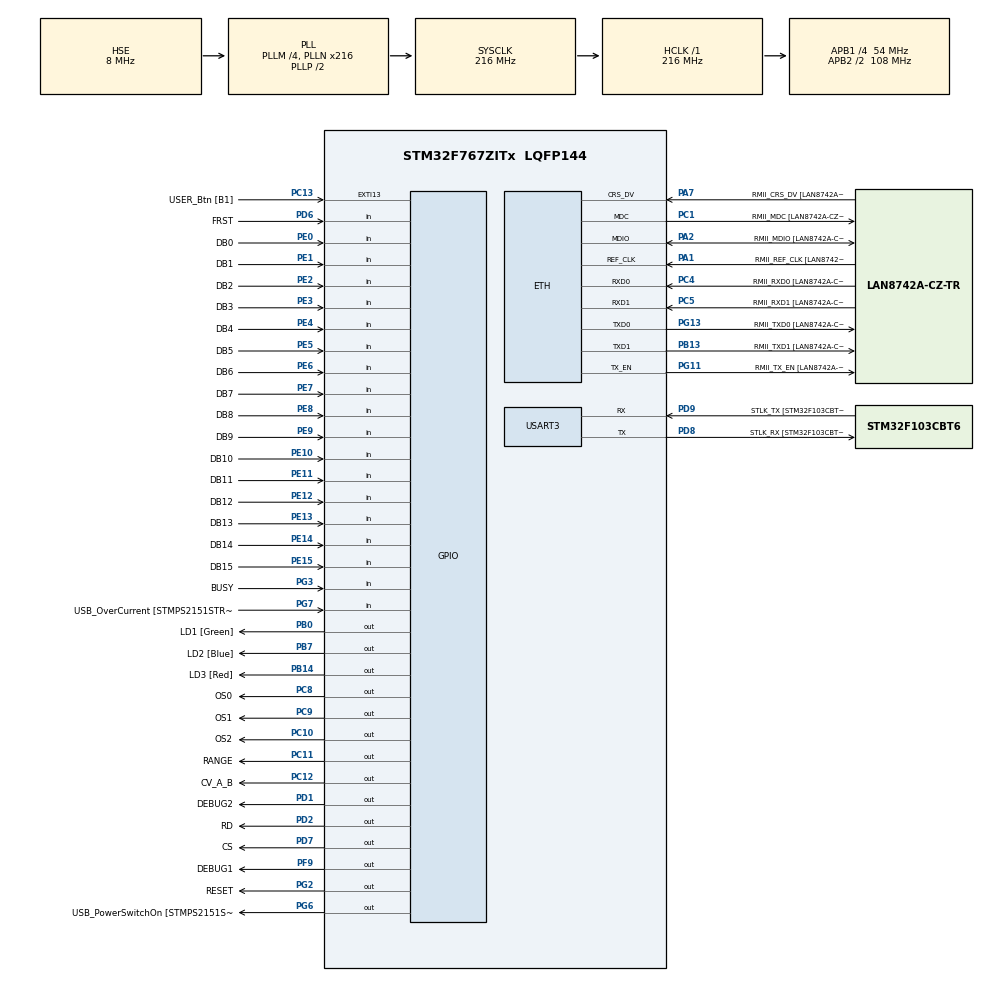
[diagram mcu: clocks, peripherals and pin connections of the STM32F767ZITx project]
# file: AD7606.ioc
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ETH.MediaInterface=ETH_MEDIA_INTERFACE_RMII
ETH.PHY_Name=LAN8742A_PHY_ADDRESS
ETH.PHY_Value=0
ETH.PhyAddress=0
Mcu.Family=STM32F7
Mcu.Name=STM32F767ZITx
Mcu.Package=LQFP144
NVIC.PriorityGroup=NVIC_PRIORITYGROUP_4
NVIC.TIM6_DAC_IRQn=true\:0\:0\:false\:false\:true\:true\:true
NVIC.TIM7_IRQn=true\:0\:0\:false\:false\:true\:true\:true
PA1.GPIO_Label=RMII_REF_CLK [LAN8742A-CZ-TR_REFCLK0]
PA1.Mode=RMII
PA1.Signal=ETH_REF_CLK
PA10.GPIO_Label=USB_ID
PA10.Signal=USB_OTG_FS_ID
PA11.GPIO_Label=USB_DM
PA11.Signal=USB_OTG_FS_DM
PA12.GPIO_Label=USB_DP
PA12.Signal=USB_OTG_FS_DP
PA13.GPIO_Label=TMS
PA13.Mode=Serial_Wire
PA13.Signal=SYS_JTMS-SWDIO
PA14.GPIO_Label=TCK
PA14.Mode=Serial_Wire
PA14.Signal=SYS_JTCK-SWCLK
PA2.GPIO_Label=RMII_MDIO [LAN8742A-CZ-TR_MDIO]
PA2.Mode=RMII
PA2.Signal=ETH_MDIO
PA7.GPIO_Label=RMII_CRS_DV [LAN8742A-CZ-TR_CRS_DV]
PA7.Mode=RMII
PA7.Signal=ETH_CRS_DV
PA8.GPIO_Label=USB_SOF [TP1]
PA8.Signal=USB_OTG_FS_SOF
PA9.GPIO_Label=USB_VBUS
PA9.Signal=USB_OTG_FS_VBUS
PB0.GPIO_Label=LD1 [Green]
PB0.Signal=GPIO_Output
PB13.GPIO_Label=RMII_TXD1 [LAN8742A-CZ-TR_TXD1]
PB13.Mode=RMII
PB13.Signal=ETH_TXD1
PB14.GPIO_Label=LD3 [Red]
PB14.Signal=GPIO_Output
PB3.GPIO_Label=SWO
PB3.Signal=SYS_JTDO-SWO
PB7.GPIO_Label=LD2 [Blue]
PB7.Signal=GPIO_Output
PC1.GPIO_Label=RMII_MDC [LAN8742A-CZ-TR_MDC]
PC1.Mode=RMII
PC1.Signal=ETH_MDC
PC10.GPIO_Label=OS2
PC10.Signal=GPIO_Output
PC11.GPIO_Label=RANGE
PC11.Signal=GPIO_Output
PC12.GPIO_Label=CV_A_B
PC12.Signal=GPIO_Output
PC13.GPIO_Label=USER_Btn [B1]
PC13.Signal=GPXTI13
PC14/OSC32_IN.Mode=LSE-External-Oscillator
PC14/OSC32_IN.Signal=RCC_OSC32_IN
PC15/OSC32_OUT.Mode=LSE-External-Oscillator
PC15/OSC32_OUT.Signal=RCC_OSC32_OUT
PC4.GPIO_Label=RMII_RXD0 [LAN8742A-CZ-TR_RXD0]
PC4.Mode=RMII
PC4.Signal=ETH_RXD0
PC5.GPIO_Label=RMII_RXD1 [LAN8742A-CZ-TR_RXD1]
PC5.Mode=RMII
PC5.Signal=ETH_RXD1
PC8.GPIO_Label=OS0
PC8.Signal=GPIO_Output
PC9.GPIO_Label=OS1
PC9.Signal=GPIO_Output
PD1.GPIO_Label=DEBUG2
PD1.Signal=GPIO_Output
PD2.GPIO_Label=RD
PD2.Signal=GPIO_Output
PD6.GPIO_Label=FRST
PD6.Signal=GPIO_Input
PD7.GPIO_Label=CS
PD7.Signal=GPIO_Output
PD8.GPIO_Label=STLK_RX [STM32F103CBT6_PA3]
PD8.Mode=Asynchronous
PD8.Signal=USART3_TX
PD9.GPIO_Label=STLK_TX [STM32F103CBT6_PA2]
PD9.Mode=Asynchronous
PD9.Signal=USART3_RX
PE0.GPIO_Label=DB0
PE0.Signal=GPIO_Input
PE1.GPIO_Label=DB1
PE1.Signal=GPIO_Input
PE10.GPIO_Label=DB10
PE10.Signal=GPIO_Input
PE11.GPIO_Label=DB11
PE11.Signal=GPIO_Input
PE12.GPIO_Label=DB12
PE12.Signal=GPIO_Input
PE13.GPIO_Label=DB13
PE13.Signal=GPIO_Input
PE14.GPIO_Label=DB14
PE14.Signal=GPIO_Input
PE15.GPIO_Label=DB15
PE15.Signal=GPIO_Input
PE2.GPIO_Label=DB2
PE2.Signal=GPIO_Input
PE3.GPIO_Label=DB3
PE3.Signal=GPIO_Input
PE4.GPIO_Label=DB4
PE4.Signal=GPIO_Input
PE5.GPIO_Label=DB5
PE5.Signal=GPIO_Input
PE6.GPIO_Label=DB6
PE6.Signal=GPIO_Input
PE7.GPIO_Label=DB7
PE7.Signal=GPIO_Input
PE8.GPIO_Label=DB8
PE8.Signal=GPIO_Input
PE9.GPIO_Label=DB9
PE9.Signal=GPIO_Input
PF9.GPIO_Label=DEBUG1
PF9.Signal=GPIO_Output
PG11.GPIO_Label=RMII_TX_EN [LAN8742A-CZ-TR_TXEN]
PG11.Mode=RMII
PG11.Signal=ETH_TX_EN
PG13.GPIO_Label=RMII_TXD0 [LAN8742A-CZ-TR_TXD0]
PG13.Mode=RMII
PG13.Signal=ETH_TXD0
PG2.GPIO_Label=RESET
PG2.Signal=GPIO_Output
PG3.GPIO_Label=BUSY
PG3.Signal=GPIO_Input
PG6.GPIO_Label=USB_PowerSwitchOn [STMPS2151STR_EN]
PG6.Signal=GPIO_Output
PG7.GPIO_Label=USB_OverCurrent [STMPS2151STR_FAULT]
PG7.Signal=GPIO_Input
PH0/OSC_IN.GPIO_Label=MCO [STM32F103CBT6_PA8]
PH0/OSC_IN.Mode=HSE-External-Clock-Source
PH0/OSC_IN.Signal=RCC_OSC_IN
PH1/OSC_OUT.Mode=HSE-External-Clock-Source
PH1/OSC_OUT.Signal=RCC_OSC_OUT
ProjectManager.HeapSize=0x200
ProjectManager.StackSize=0x400
ProjectManager.TargetToolchain=SW4STM32
RCC.48MHZClocksFreq_Value=24000000
RCC.AHBFreq_Value=216000000
RCC.APB1CLKDivider=RCC_HCLK_DIV4
RCC.APB1Freq_Value=54000000
RCC.APB1TimFreq_Value=108000000
RCC.APB2CLKDivider=RCC_HCLK_DIV2
RCC.APB2Freq_Value=108000000
RCC.APB2TimFreq_Value=216000000
RCC.CortexFreq_Value=216000000
RCC.HCLKFreq_Value=216000000
RCC.HSE_VALUE=8000000
RCC.HSI_VALUE=16000000
RCC.PLLM=4
RCC.PLLMUL=RCC_PLL_MUL9
RCC.PLLN=216
RCC.PLLQ=4
RCC.PLLSourceVirtual=RCC_PLLSOURCE_HSE
RCC.PRESCALERUSB=RCC_USBCLKSOURCE_PLL_DIV1_5
RCC.SYSCLKFreq_VALUE=216000000
RCC.SYSCLKSource=RCC_SYSCLKSOURCE_PLLCLK
RCC.SYSCLKSourceVirtual=RCC_SYSCLKSOURCE_PLLCLK
RCC.USBFreq_Value=108000000
RCC.VCOOutputFreq_Value=432000000
TIM6.Period=65535
TIM6.Prescaler=216
TIM7.Period=65535
TIM7.Prescaler=216
USART3.VirtualMode-Asynchronous=VM_ASYNC
VP_TIM6_VS_ClockSourceINT.Mode=Enable_Timer
VP_TIM7_VS_ClockSourceINT.Mode=Enable_Timer
board=NUCLEO-F767ZI

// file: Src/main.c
/* USER CODE BEGIN Header */
/**
  ******************************************************************************
  * @file           : main.c
  * @brief          : Main program body
  ******************************************************************************
  * @attention
  *
  * <h2><center>&copy; Copyright (c) 2019 STMicroelectronics.
  * All rights reserved.</center></h2>
  *
  * This software component is licensed by ST under BSD 3-Clause license,
  * the "License"; You may not use this file except in compliance with the
  * License. You may obtain a copy of the License at:
  *                        opensource.org/licenses/BSD-3-Clause
  *
  ******************************************************************************
  */
/* USER CODE END Header */

#include "main.h"

/* USER CODE BEGIN PTD */
  float analogIN[8];
/* USER CODE END PTD */

ETH_HandleTypeDef heth;

TIM_HandleTypeDef htim6;
TIM_HandleTypeDef htim7;

UART_HandleTypeDef huart3;

void SystemClock_Config(void);
static void MX_GPIO_Init(void);
static void MX_ETH_Init(void);
static void MX_USART3_UART_Init(void);
static void MX_TIM6_Init(void);
static void MX_TIM7_Init(void);

int main(void)
{

  /* MCU Configuration--------------------------------------------------------*/

  /* Reset of all peripherals, Initializes the Flash interface and the Systick. */
  HAL_Init();

  /* Configure the system clock */
  SystemClock_Config();

  /* Initialize all configured peripherals */
  MX_GPIO_Init();
  //MX_ETH_Init();
  MX_USART3_UART_Init();
  MX_TIM6_Init();
  MX_TIM7_Init();
  /* USER CODE BEGIN 2 */
  HAL_TIM_Base_Start(&htim6);
  HAL_TIM_Base_Start(&htim7);
  /* USER CODE END 2 */

  /* Infinite loop */
  /* USER CODE BEGIN WHILE */

  //******Define Oversampling ADC7606*****************//
  HAL_GPIO_WritePin(GPIOC, OS0_Pin,GPIO_PIN_RESET);
  HAL_GPIO_WritePin(GPIOC, OS1_Pin,GPIO_PIN_RESET);
  HAL_GPIO_WritePin(GPIOC, OS2_Pin,GPIO_PIN_RESET);
  //**************************************************//

  //**********Define Range ADC7606********************//
  HAL_GPIO_WritePin(GPIOC, RANGE_Pin,GPIO_PIN_SET); // +/- 10V Range select
  //**************************************************//

  //**********Default State ControlPins***************//
  HAL_GPIO_WritePin(GPIOC, CV_A_B_Pin,GPIO_PIN_SET);
  HAL_GPIO_WritePin(GPIOD, CS_Pin,GPIO_PIN_SET);
  HAL_GPIO_WritePin(GPIOD, RD_Pin,GPIO_PIN_SET);
  //**************************************************//

  //**************RESET the ADC7606*******************//
  HAL_GPIO_WritePin(GPIOG, RESET_Pin,GPIO_PIN_SET);
  microDelay(1);
  HAL_GPIO_WritePin(GPIOG, RESET_Pin,GPIO_PIN_RESET);
  //**************************************************//

    while (1)
  {
    /* USER CODE END WHILE */

    /* USER CODE BEGIN 3 */

    //*************Start Measurement********************//

    HAL_GPIO_WritePin(GPIOC, CV_A_B_Pin,GPIO_PIN_RESET);
    microDelay(1);
    HAL_GPIO_WritePin(GPIOC, CV_A_B_Pin,GPIO_PIN_SET);

    microDelay(5); //CONVERSION FINISHED!!!

    HAL_GPIO_WritePin(GPIOF, DEBUG1_Pin, GPIO_PIN_SET);
    for (int i = 0; i<8; i++){

    	HAL_GPIO_WritePin(GPIOD, RD_Pin,GPIO_PIN_SET);
        HAL_GPIO_WritePin(GPIOD, CS_Pin,GPIO_PIN_SET);

        HAL_GPIO_WritePin(GPIOD, RD_Pin,GPIO_PIN_RESET);
        HAL_GPIO_WritePin(GPIOD, CS_Pin,GPIO_PIN_RESET);
        analogIN[i] = GPIOE->IDR;

    }
    HAL_GPIO_WritePin(GPIOF, DEBUG1_Pin, GPIO_PIN_RESET);

    HAL_GPIO_WritePin(GPIOD, CS_Pin,GPIO_PIN_SET);
    HAL_GPIO_WritePin(GPIOD, RD_Pin,GPIO_PIN_SET);

	HAL_GPIO_TogglePin(GPIOD, DEBUG2_Pin);

  }
  /* USER CODE END 3 */
}

void SystemClock_Config(void)
{
  RCC_OscInitTypeDef RCC_OscInitStruct = {0};
  RCC_ClkInitTypeDef RCC_ClkInitStruct = {0};
  RCC_PeriphCLKInitTypeDef PeriphClkInitStruct = {0};

  /** Configure LSE Drive Capability
  */
  HAL_PWR_EnableBkUpAccess();
  /** Configure the main internal regulator output voltage
  */
  __HAL_RCC_PWR_CLK_ENABLE();
  __HAL_PWR_VOLTAGESCALING_CONFIG(PWR_REGULATOR_VOLTAGE_SCALE1);
  /** Initializes the CPU, AHB and APB busses clocks
  */
  RCC_OscInitStruct.OscillatorType = RCC_OSCILLATORTYPE_HSE;
  RCC_OscInitStruct.HSEState = RCC_HSE_BYPASS;
  RCC_OscInitStruct.PLL.PLLState = RCC_PLL_ON;
  RCC_OscInitStruct.PLL.PLLSource = RCC_PLLSOURCE_HSE;
  RCC_OscInitStruct.PLL.PLLM = 4;
  RCC_OscInitStruct.PLL.PLLN = 216;
  RCC_OscInitStruct.PLL.PLLP = RCC_PLLP_DIV2;
  RCC_OscInitStruct.PLL.PLLQ = 4;
  if (HAL_RCC_OscConfig(&RCC_OscInitStruct) != HAL_OK)
  {
    Error_Handler();
  }
  /** Activate the Over-Drive mode
  */
  if (HAL_PWREx_EnableOverDrive() != HAL_OK)
  {
    Error_Handler();
  }
  /** Initializes the CPU, AHB and APB busses clocks
  */
  RCC_ClkInitStruct.ClockType = RCC_CLOCKTYPE_HCLK|RCC_CLOCKTYPE_SYSCLK
                              |RCC_CLOCKTYPE_PCLK1|RCC_CLOCKTYPE_PCLK2;
  RCC_ClkInitStruct.SYSCLKSource = RCC_SYSCLKSOURCE_PLLCLK;
  RCC_ClkInitStruct.AHBCLKDivider = RCC_SYSCLK_DIV1;
  RCC_ClkInitStruct.APB1CLKDivider = RCC_HCLK_DIV4;
  RCC_ClkInitStruct.APB2CLKDivider = RCC_HCLK_DIV2;

  if (HAL_RCC_ClockConfig(&RCC_ClkInitStruct, FLASH_LATENCY_7) != HAL_OK)
  {
    Error_Handler();
  }
  PeriphClkInitStruct.PeriphClockSelection = RCC_PERIPHCLK_USART3;
  PeriphClkInitStruct.Usart3ClockSelection = RCC_USART3CLKSOURCE_PCLK1;
  if (HAL_RCCEx_PeriphCLKConfig(&PeriphClkInitStruct) != HAL_OK)
  {
    Error_Handler();
  }
}

static void MX_ETH_Init(void)
{

  heth.Instance = ETH;
  heth.Init.AutoNegotiation = ETH_AUTONEGOTIATION_ENABLE;
  heth.Init.PhyAddress = LAN8742A_PHY_ADDRESS;
  heth.Init.MACAddr[0] =   0x00;
  heth.Init.MACAddr[1] =   0x80;
  heth.Init.MACAddr[2] =   0xE1;
  heth.Init.MACAddr[3] =   0x00;
  heth.Init.MACAddr[4] =   0x00;
  heth.Init.MACAddr[5] =   0x00;
  heth.Init.RxMode = ETH_RXPOLLING_MODE;
  heth.Init.ChecksumMode = ETH_CHECKSUM_BY_HARDWARE;
  heth.Init.MediaInterface = ETH_MEDIA_INTERFACE_RMII;

  if (HAL_ETH_Init(&heth) != HAL_OK)
  {
    Error_Handler();
  }

}

static void MX_TIM6_Init(void)
{

  TIM_MasterConfigTypeDef sMasterConfig = {0};

  htim6.Instance = TIM6;
  htim6.Init.Prescaler = 107;
  htim6.Init.CounterMode = TIM_COUNTERMODE_UP;
  htim6.Init.Period = 65535;
  htim6.Init.AutoReloadPreload = TIM_AUTORELOAD_PRELOAD_DISABLE;
  if (HAL_TIM_Base_Init(&htim6) != HAL_OK)
  {
    Error_Handler();
  }
  sMasterConfig.MasterOutputTrigger = TIM_TRGO_RESET;
  sMasterConfig.MasterSlaveMode = TIM_MASTERSLAVEMODE_DISABLE;
  if (HAL_TIMEx_MasterConfigSynchronization(&htim6, &sMasterConfig) != HAL_OK)
  {
    Error_Handler();
  }

}

static void MX_TIM7_Init(void)
{

  TIM_MasterConfigTypeDef sMasterConfig = {0};

  htim7.Instance = TIM7;
  htim7.Init.Prescaler = 216;
  htim7.Init.CounterMode = TIM_COUNTERMODE_UP;
  htim7.Init.Period = 65535;
  htim7.Init.AutoReloadPreload = TIM_AUTORELOAD_PRELOAD_DISABLE;
  if (HAL_TIM_Base_Init(&htim7) != HAL_OK)
  {
    Error_Handler();
  }
  sMasterConfig.MasterOutputTrigger = TIM_TRGO_RESET;
  sMasterConfig.MasterSlaveMode = TIM_MASTERSLAVEMODE_DISABLE;
  if (HAL_TIMEx_MasterConfigSynchronization(&htim7, &sMasterConfig) != HAL_OK)
  {
    Error_Handler();
  }

}

static void MX_USART3_UART_Init(void)
{

  huart3.Instance = USART3;
  huart3.Init.BaudRate = 115200;
  huart3.Init.WordLength = UART_WORDLENGTH_8B;
  huart3.Init.StopBits = UART_STOPBITS_1;
  huart3.Init.Parity = UART_PARITY_NONE;
  huart3.Init.Mode = UART_MODE_TX_RX;
  huart3.Init.HwFlowCtl = UART_HWCONTROL_NONE;
  huart3.Init.OverSampling = UART_OVERSAMPLING_16;
  huart3.Init.OneBitSampling = UART_ONE_BIT_SAMPLE_DISABLE;
  huart3.AdvancedInit.AdvFeatureInit = UART_ADVFEATURE_NO_INIT;
  if (HAL_UART_Init(&huart3) != HAL_OK)
  {
    Error_Handler();
  }

}

static void MX_GPIO_Init(void)
{
  GPIO_InitTypeDef GPIO_InitStruct = {0};

  /* GPIO Ports Clock Enable */
  __HAL_RCC_GPIOE_CLK_ENABLE();
  __HAL_RCC_GPIOC_CLK_ENABLE();
  __HAL_RCC_GPIOF_CLK_ENABLE();
  __HAL_RCC_GPIOH_CLK_ENABLE();
  __HAL_RCC_GPIOA_CLK_ENABLE();
  __HAL_RCC_GPIOB_CLK_ENABLE();
  __HAL_RCC_GPIOD_CLK_ENABLE();
  __HAL_RCC_GPIOG_CLK_ENABLE();

  /*Configure GPIO pin Output Level */
  HAL_GPIO_WritePin(DEBUG1_GPIO_Port, DEBUG1_Pin, GPIO_PIN_RESET);

  /*Configure GPIO pin Output Level */
  HAL_GPIO_WritePin(GPIOB, LD1_Pin|LD3_Pin|LD2_Pin, GPIO_PIN_RESET);

  /*Configure GPIO pin Output Level */
  HAL_GPIO_WritePin(GPIOG, RESET_Pin|USB_PowerSwitchOn_Pin, GPIO_PIN_RESET);

  /*Configure GPIO pin Output Level */
  HAL_GPIO_WritePin(GPIOC, OS0_Pin|OS1_Pin|OS2_Pin|RANGE_Pin
                          |CV_A_B_Pin, GPIO_PIN_RESET);

  /*Configure GPIO pin Output Level */
  HAL_GPIO_WritePin(GPIOD, DEBUG2_Pin|RD_Pin|CS_Pin, GPIO_PIN_RESET);

  /*Configure GPIO pins : DB2_Pin DB3_Pin DB4_Pin DB5_Pin
                           DB6_Pin DB7_Pin DB8_Pin DB9_Pin
                           DB10_Pin DB11_Pin DB12_Pin DB13_Pin
                           DB14_Pin DB15_Pin DB0_Pin DB1_Pin */
  GPIO_InitStruct.Pin = DB2_Pin|DB3_Pin|DB4_Pin|DB5_Pin
                          |DB6_Pin|DB7_Pin|DB8_Pin|DB9_Pin
                          |DB10_Pin|DB11_Pin|DB12_Pin|DB13_Pin
                          |DB14_Pin|DB15_Pin|DB0_Pin|DB1_Pin;
  GPIO_InitStruct.Mode = GPIO_MODE_INPUT;
  GPIO_InitStruct.Pull = GPIO_NOPULL;
  HAL_GPIO_Init(GPIOE, &GPIO_InitStruct);

  /*Configure GPIO pin : USER_Btn_Pin */
  GPIO_InitStruct.Pin = USER_Btn_Pin;
  GPIO_InitStruct.Mode = GPIO_MODE_IT_RISING;
  GPIO_InitStruct.Pull = GPIO_NOPULL;
  HAL_GPIO_Init(USER_Btn_GPIO_Port, &GPIO_InitStruct);

  /*Configure GPIO pin : DEBUG1_Pin */
  GPIO_InitStruct.Pin = DEBUG1_Pin;
  GPIO_InitStruct.Mode = GPIO_MODE_OUTPUT_PP;
  GPIO_InitStruct.Pull = GPIO_NOPULL;
  GPIO_InitStruct.Speed = GPIO_SPEED_FREQ_LOW;
  HAL_GPIO_Init(DEBUG1_GPIO_Port, &GPIO_InitStruct);

  /*Configure GPIO pins : LD1_Pin LD3_Pin LD2_Pin */
  GPIO_InitStruct.Pin = LD1_Pin|LD3_Pin|LD2_Pin;
  GPIO_InitStruct.Mode = GPIO_MODE_OUTPUT_PP;
  GPIO_InitStruct.Pull = GPIO_NOPULL;
  GPIO_InitStruct.Speed = GPIO_SPEED_FREQ_LOW;
  HAL_GPIO_Init(GPIOB, &GPIO_InitStruct);

  /*Configure GPIO pins : RESET_Pin USB_PowerSwitchOn_Pin */
  GPIO_InitStruct.Pin = RESET_Pin|USB_PowerSwitchOn_Pin;
  GPIO_InitStruct.Mode = GPIO_MODE_OUTPUT_PP;
  GPIO_InitStruct.Pull = GPIO_NOPULL;
  GPIO_InitStruct.Speed = GPIO_SPEED_FREQ_LOW;
  HAL_GPIO_Init(GPIOG, &GPIO_InitStruct);

  /*Configure GPIO pins : BUSY_Pin USB_OverCurrent_Pin */
  GPIO_InitStruct.Pin = BUSY_Pin|USB_OverCurrent_Pin;
  GPIO_InitStruct.Mode = GPIO_MODE_INPUT;
  GPIO_InitStruct.Pull = GPIO_NOPULL;
  HAL_GPIO_Init(GPIOG, &GPIO_InitStruct);

  /*Configure GPIO pins : OS0_Pin OS1_Pin OS2_Pin RANGE_Pin
                           CV_A_B_Pin */
  GPIO_InitStruct.Pin = OS0_Pin|OS1_Pin|OS2_Pin|RANGE_Pin
                          |CV_A_B_Pin;
  GPIO_InitStruct.Mode = GPIO_MODE_OUTPUT_PP;
  GPIO_InitStruct.Pull = GPIO_NOPULL;
  GPIO_InitStruct.Speed = GPIO_SPEED_FREQ_LOW;
  HAL_GPIO_Init(GPIOC, &GPIO_InitStruct);

  /*Configure GPIO pins : USB_SOF_Pin USB_ID_Pin USB_DM_Pin USB_DP_Pin */
  GPIO_InitStruct.Pin = USB_SOF_Pin|USB_ID_Pin|USB_DM_Pin|USB_DP_Pin;
  GPIO_InitStruct.Mode = GPIO_MODE_AF_PP;
  GPIO_InitStruct.Pull = GPIO_NOPULL;
  GPIO_InitStruct.Speed = GPIO_SPEED_FREQ_VERY_HIGH;
  GPIO_InitStruct.Alternate = GPIO_AF10_OTG_FS;
  HAL_GPIO_Init(GPIOA, &GPIO_InitStruct);

  /*Configure GPIO pin : USB_VBUS_Pin */
  GPIO_InitStruct.Pin = USB_VBUS_Pin;
  GPIO_InitStruct.Mode = GPIO_MODE_INPUT;
  GPIO_InitStruct.Pull = GPIO_NOPULL;
  HAL_GPIO_Init(USB_VBUS_GPIO_Port, &GPIO_InitStruct);

  /*Configure GPIO pins : DEBUG2_Pin RD_Pin CS_Pin */
  GPIO_InitStruct.Pin = DEBUG2_Pin|RD_Pin|CS_Pin;
  GPIO_InitStruct.Mode = GPIO_MODE_OUTPUT_PP;
  GPIO_InitStruct.Pull = GPIO_NOPULL;
  GPIO_InitStruct.Speed = GPIO_SPEED_FREQ_LOW;
  HAL_GPIO_Init(GPIOD, &GPIO_InitStruct);

  /*Configure GPIO pin : FRST_Pin */
  GPIO_InitStruct.Pin = FRST_Pin;
  GPIO_InitStruct.Mode = GPIO_MODE_INPUT;
  GPIO_InitStruct.Pull = GPIO_NOPULL;
  HAL_GPIO_Init(FRST_GPIO_Port, &GPIO_InitStruct);

}

/* USER CODE BEGIN 4 */
void microDelay (int time){
	  while (__HAL_TIM_GET_COUNTER(&htim6) < time){

	  }
	  __HAL_TIM_SET_COUNTER(&htim6 , 0);
}
/* USER CODE END 4 */

void Error_Handler(void)
{
}

/************************ (C) COPYRIGHT STMicroelectronics *****END OF FILE****/
